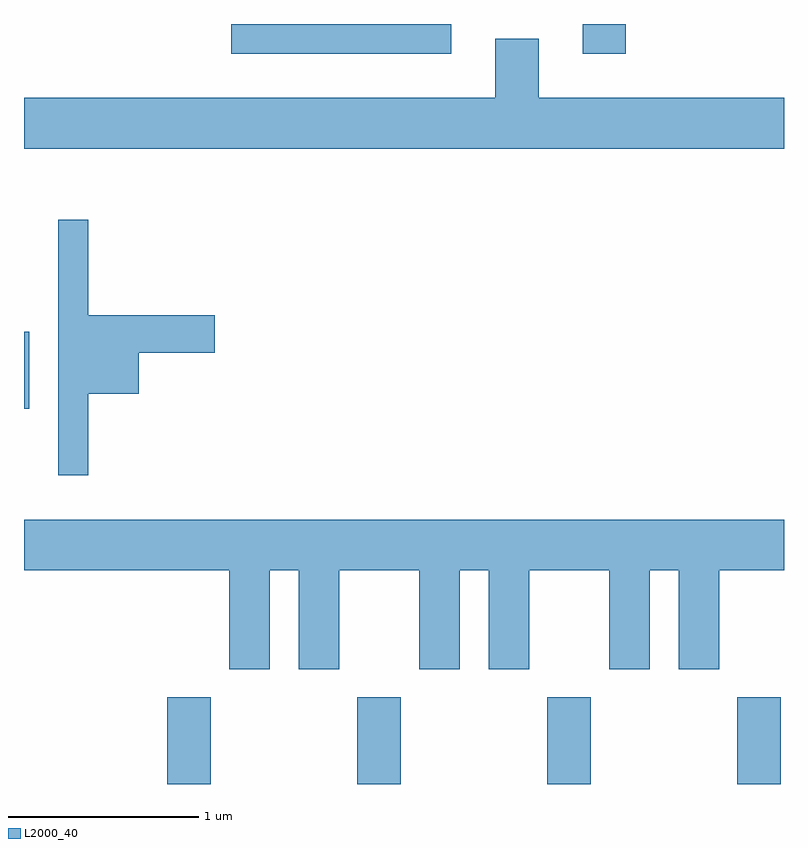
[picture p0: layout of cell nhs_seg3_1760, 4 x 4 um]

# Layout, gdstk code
import gdstk
lib = gdstk.Library(unit=1e-6, precision=1e-09)
def R(c, l, rs):  # rectangles x0, y0, x1, y1
    for r in rs: c.add(gdstk.rectangle(r[:2], r[2:], *l))
def A(c, l, x, y, w, h, nx, ny, dx, dy):  # array of equal rectangles
    R(c, l, [(x+i*dx, y+j*dy, x+i*dx+w, y+j*dy+h) for i in range(nx) for j in range(ny)])
def P(c, l, *ps):  # polygons
    for p in ps: c.add(gdstk.Polygon(p, *l))
L2000_40 = (2000, 40)

nhs_seg3_1760 = lib.new_cell('nhs_seg3_1760')
A(nhs_seg3_1760, L2000_40, 236.366, 1235.892, 0.228, 0.457, 4, 1, 1, 0)
R(nhs_seg3_1760, L2000_40, [(235.611,1237.866,235.639,1238.273), (236.703,1239.736,237.859,1239.892), (238.551,1239.736,238.779,1239.892)])
P(nhs_seg3_1760, L2000_40, [(239.611,1239.504),(238.319,1239.504),(238.319,1239.814),(238.091,1239.814),(238.091,1239.504),(235.611,1239.504),(235.611,1239.236),(239.611,1239.236)],
  [(235.949,1237.946),(236.214,1237.946),(236.214,1238.161),(236.614,1238.161),(236.614,1238.359),(235.949,1238.359),(235.949,1238.863),(235.791,1238.863),(235.791,1237.518),(235.949,1237.518)],
  [(236.904,1237.016),(237.056,1237.016),(237.056,1236.496),(237.269,1236.496),(237.269,1237.016),(237.691,1237.016),(237.691,1236.496),(237.904,1236.496),(237.904,1237.016),(238.056,1237.016),(238.056,1236.496),(238.269,1236.496),(238.269,1237.016),(238.691,1237.016),(238.691,1236.496),(238.904,1236.496),(238.904,1237.016),(239.056,1237.016),(239.056,1236.496),(239.269,1236.496),(239.269,1237.016),(239.611,1237.016),(239.611,1237.284),(235.611,1237.284),(235.611,1237.016),(236.691,1237.016),(236.691,1236.496),(236.904,1236.496)])

lib.write_gds('nhs_seg3_1760.gds')
